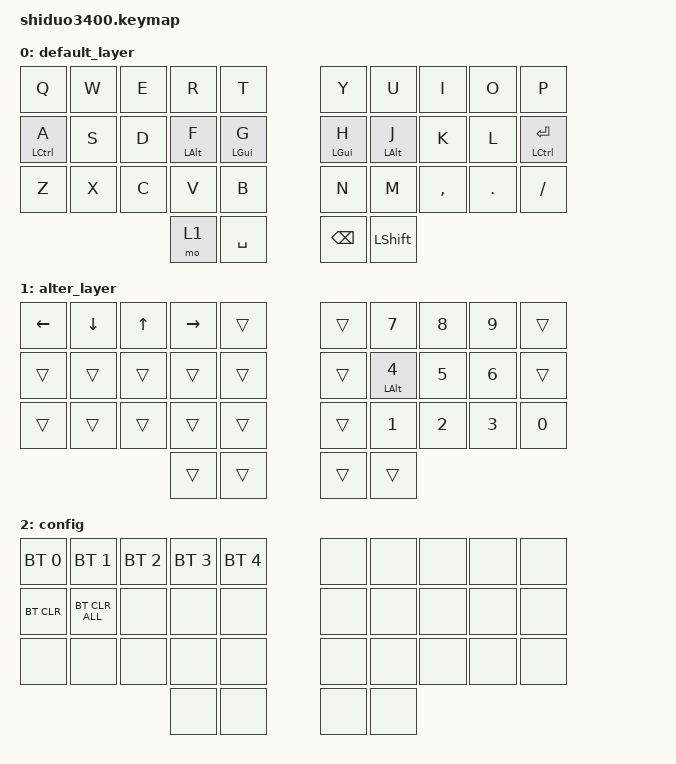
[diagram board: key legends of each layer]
/*
* Copyright (c) 2021 The ZMK Contributors
*
* SPDX-License-Identifier: MIT
*/

#include <behaviors.dtsi>
#include <dt-bindings/zmk/bt.h>
#include <dt-bindings/zmk/keys.h>

/ {
    behaviors {
        MY_MT: MY_MT {
            compatible = "zmk,behavior-hold-tap";
            label = "MY_MT";
            bindings = <&kp>, <&kp>;

            #binding-cells = <2>;
            tapping-term-ms = <200>;
            flavor = "tap-preferred";
        };

        tapDanceBootloader: tapDanceBootloader {
            compatible = "zmk,behavior-tap-dance";
            label = "TAPDANCEBOOTLOADER";
            #binding-cells = <0>;
            bindings = <&none>, <&bootloader>;
        };
    };

    combos {
        compatible = "zmk,combos";

        COMBO_SEMICOLON {
            bindings = <&kp SEMICOLON>;
            key-positions = <8 19>;
        };

        COMBO_COLON {
            bindings = <&kp COLON>;
            key-positions = <8 17>;
        };

        COMBO_DOUBLE_QUOTES {
            bindings = <&kp DOUBLE_QUOTES>;
            key-positions = <16 7>;
        };

        COMBO_SINGLE_QUOTE {
            bindings = <&kp SINGLE_QUOTE>;
            key-positions = <17 26>;
        };

        COMBO_MINUS {
            bindings = <&kp MINUS>;
            key-positions = <10 1>;
        };

        COMBO_UNDERSCORE {
            bindings = <&kp UNDERSCORE>;
            key-positions = <1 12>;
        };

        COMBO_EQUAL {
            bindings = <&kp EQUAL>;
            key-positions = <13 2>;
        };

        COMBO_PLUS {
            bindings = <&kp PLUS>;
            key-positions = <12 23>;
        };

        COMBO_LPAR {
            bindings = <&kp LPAR>;
            key-positions = <3 14>;
        };

        COMBO_RPAR {
            bindings = <&kp RPAR>;
            key-positions = <6 15>;
        };

        COMBO_LBKT {
            bindings = <&kp LBKT>;
            key-positions = <13 24>;
        };

        COMBO_RBKT {
            bindings = <&kp RBKT>;
            key-positions = <16 25>;
        };

        COMBO_LBRC {
            bindings = <&kp LBRC>;
            key-positions = <23 31>;
        };

        COMBO_RBRC {
            bindings = <&kp RBRC>;
            key-positions = <32 26>;
        };

        combo_BACKSLASH {
            bindings = <&kp BACKSLASH>;
            key-positions = <16 26>;
        };

        combo_PIPE {
            bindings = <&kp PIPE>;
            key-positions = <15 25>;
        };

        combo_GRAVE {
            bindings = <&kp GRAVE>;
            key-positions = <13 23>;
        };

        combo_TILDE {
            bindings = <&kp TILDE>;
            key-positions = <14 24>;
        };

        bootloader {
            bindings = <&tapDanceBootloader>;
            key-positions = <9 19 29>;
            layers = <2>;
        };

        tab {
            bindings = <&kp TAB>;
            key-positions = <11 12>;
        };

        f1 {
            bindings = <&kp F1>;
            key-positions = <0 10>;
        };

        f2 {
            bindings = <&kp F2>;
            key-positions = <1 11>;
        };

        f3 {
            bindings = <&kp F3>;
            key-positions = <2 12>;
        };

        f4 {
            bindings = <&kp F4>;
            key-positions = <3 13>;
        };

        f5 {
            bindings = <&kp F5>;
            key-positions = <4 14>;
        };

        f6 {
            bindings = <&kp F6>;
            key-positions = <5 15>;
        };

        f7 {
            bindings = <&kp F7>;
            key-positions = <6 16>;
        };

        f8 {
            bindings = <&kp F8>;
            key-positions = <7 17>;
        };

        f9 {
            bindings = <&kp F9>;
            key-positions = <8 18>;
        };

        f10 {
            bindings = <&kp F10>;
            key-positions = <9 19>;
        };

        f11 {
            bindings = <&kp F11>;
            key-positions = <10 20>;
        };

        f12 {
            bindings = <&kp F12>;
            key-positions = <11 21>;
        };

        del {
            bindings = <&kp DEL>;
            key-positions = <32 25>;
        };

        MO_CONFIG_LAYER {
            bindings = <&mo 2>;
            key-positions = <30 31 32 33>;
        };

        home {
            bindings = <&kp HOME>;
            key-positions = <20 21>;
        };

        end {
            bindings = <&kp END>;
            key-positions = <29 28>;
        };

        pgup {
            bindings = <&kp PG_UP>;
            key-positions = <21 22>;
        };

        pgdn {
            bindings = <&kp PG_DN>;
            key-positions = <28 27>;
        };

        capslock {
            bindings = <&kp CAPS>;
            key-positions = <33 26>;
        };

        ctrl {
            bindings = <&kp LCTRL>;
            key-positions = <10 19>;
        };

        alt {
            bindings = <&kp LEFT_ALT>;
            key-positions = <13 16>;
        };

        gui {
            bindings = <&kp LEFT_GUI>;
            key-positions = <14 15>;
        };

        toggleAlterLayer {
            bindings = <&tog 1>;
            key-positions = <30 23>;
        };

        volumeDown {
            bindings = <&kp C_VOLUME_DOWN>;
            key-positions = <27 17>;
        };

        volumeUp {
            bindings = <&kp C_VOLUME_UP>;
            key-positions = <28 18>;
        };

        muteVolume {
            bindings = <&kp C_MUTE>;
            key-positions = <19 29>;
        };

        comboEsc {
            bindings = <&kp ESCAPE>;
            key-positions = <2 0 1>;
        };

        studioUnlock {
            bindings = <&studio_unlock>;
            key-positions = <29 28 27>;
            layers = <2>;
        };
    };

    keymap {
        compatible = "zmk,keymap";

        default_layer {
            bindings = <
&kp Q                    &kp W  &kp E  &kp R                &kp T                &kp Y                &kp U                &kp I      &kp O    &kp P
&MY_MT LEFT_CONTROL A  &kp S  &kp D  &MY_MT LEFT_ALT F  &MY_MT LEFT_GUI G  &MY_MT LEFT_GUI H  &MY_MT LEFT_ALT J  &kp K      &kp L    &MY_MT LEFT_CONTROL ENTER
&kp Z                    &kp X  &kp C  &kp V                &kp B                &kp N                &kp M                &kp COMMA  &kp DOT  &kp SLASH
                                       &mo 1                &kp SPACE            &kp BACKSPACE        &kp LEFT_SHIFT
            >;
        };

        alter_layer {
            bindings = <
&kp LEFT  &kp DOWN  &kp UP  &kp RIGHT  &trans  &trans  &kp N7                &kp N8  &kp N9  &trans
&trans    &trans    &trans  &trans     &trans  &trans  &MY_MT LEFT_ALT N4  &kp N5  &kp N6  &trans
&trans    &trans    &trans  &trans     &trans  &trans  &kp N1                &kp N2  &kp N3  &kp N0
                            &trans     &trans  &trans  &trans
            >;
        };

        config {
            bindings = <
&bt BT_SEL 0  &bt BT_SEL 1    &bt BT_SEL 2  &bt BT_SEL 3  &bt BT_SEL 4  &none  &none  &none  &none  &none
&bt BT_CLR    &bt BT_CLR_ALL  &none         &none         &none         &none  &none  &none  &none  &none
&none         &none           &none         &none         &none         &none  &none  &none  &none  &none
                                            &none         &none         &none  &none
            >;
        };
    };
};
